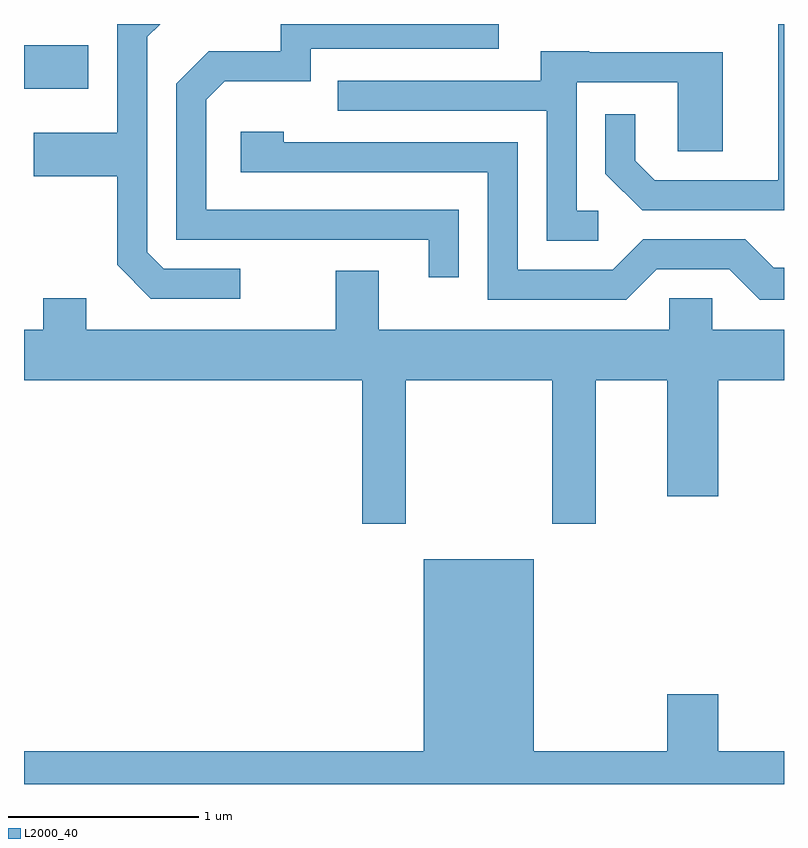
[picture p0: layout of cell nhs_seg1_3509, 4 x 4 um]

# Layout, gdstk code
import gdstk
lib = gdstk.Library(unit=1e-6, precision=1e-09)
def R(c, l, rs):  # rectangles x0, y0, x1, y1
    for r in rs: c.add(gdstk.rectangle(r[:2], r[2:], *l))
def P(c, l, *ps):  # polygons
    for p in ps: c.add(gdstk.Polygon(p, *l))
L2000_40 = (2000, 40)

nhs_seg1_3509 = lib.new_cell('nhs_seg1_3509')
R(nhs_seg1_3509, L2000_40, [(291.611,863.371,291.949,863.599)])
P(nhs_seg1_3509, L2000_40, [(295.611,863.712),(295.581,863.712),(295.581,862.889),(294.932,862.889),(294.829,862.992),(294.829,863.238),(294.671,863.238),(294.671,862.924),(294.864,862.731),(295.611,862.731)],
  [(292.748,862.424),(292.347,862.424),(292.259,862.512),(292.259,863.644),(292.328,863.712),(292.101,863.712),(292.101,863.139),(291.661,863.139),(291.661,862.911),(292.101,862.911),(292.101,862.444),(292.279,862.266),(292.748,862.266)],
  [(293.899,862.734),(292.569,862.734),(292.569,863.314),(292.667,863.411),(293.119,863.411),(293.119,863.581),(294.109,863.581),(294.109,863.712),(292.961,863.712),(292.961,863.569),(292.584,863.569),(292.411,863.397),(292.411,862.576),(293.741,862.576),(293.741,862.378),(293.899,862.378)],
  [(294.633,862.729),(294.519,862.729),(294.519,863.406),(295.051,863.406),(295.051,863.041),(295.289,863.041),(295.289,863.564),(294.585,863.564),(294.585,863.569),(294.331,863.569),(294.331,863.414),(293.263,863.414),(293.263,863.256),(294.361,863.256),(294.361,862.571),(294.633,862.571)],
  [(294.942,862.421),(295.324,862.421),(295.484,862.261),(295.611,862.261),(295.611,862.429),(295.557,862.429),(295.407,862.579),(294.869,862.579),(294.709,862.419),(294.209,862.419),(294.209,863.089),(292.979,863.089),(292.979,863.144),(292.751,863.144),(292.751,862.931),(294.051,862.931),(294.051,862.261),(294.782,862.261)],
  [(293.619,861.836),(294.391,861.836),(294.391,861.081),(294.619,861.081),(294.619,861.836),(294.996,861.836),(294.996,861.226),(295.264,861.226),(295.264,861.836),(295.611,861.836),(295.611,862.104),(295.234,862.104),(295.234,862.269),(295.006,862.269),(295.006,862.104),(293.479,862.104),(293.479,862.414),(293.251,862.414),(293.251,862.104),(291.939,862.104),(291.939,862.269),(291.711,862.269),(291.711,862.104),(291.611,862.104),(291.611,861.836),(293.391,861.836),(293.391,861.081),(293.619,861.081)],
  [(295.611,859.884),(295.264,859.884),(295.264,860.184),(294.996,860.184),(294.996,859.884),(294.294,859.884),(294.294,860.894),(293.716,860.894),(293.716,859.884),(291.611,859.884),(291.611,859.712),(295.611,859.712)])

lib.write_gds('nhs_seg1_3509.gds')
